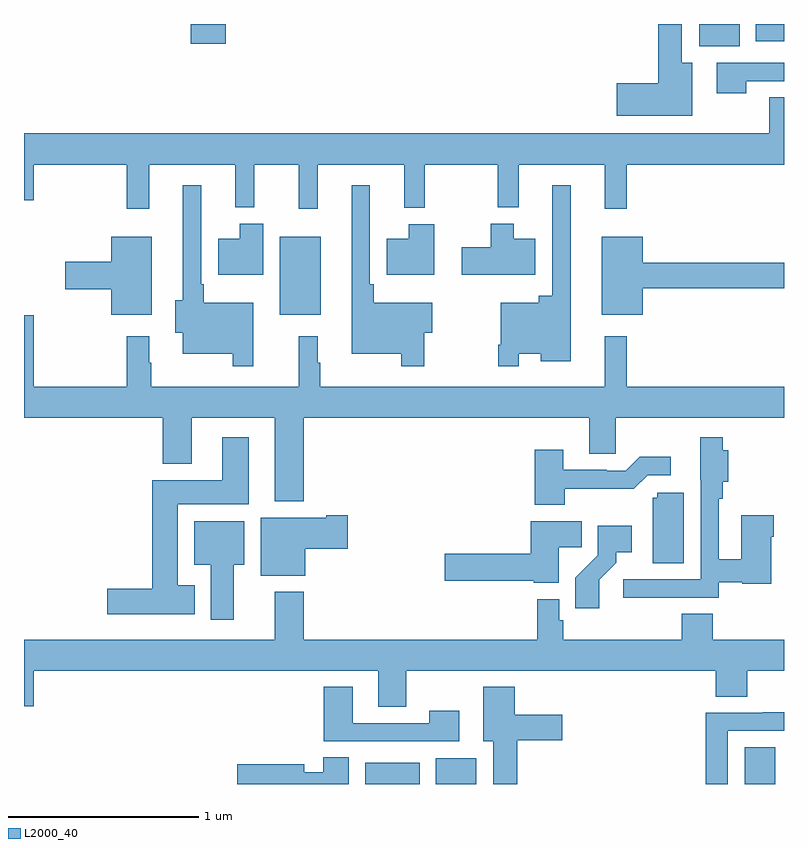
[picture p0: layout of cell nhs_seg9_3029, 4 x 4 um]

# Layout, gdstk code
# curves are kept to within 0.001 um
import gdstk
lib = gdstk.Library(unit=1e-6, precision=1e-09)
def R(c, l, rs):  # rectangles x0, y0, x1, y1
    for r in rs: c.add(gdstk.rectangle(r[:2], r[2:], *l))
def P(c, l, *ps):  # polygons
    for p in ps: c.add(gdstk.Polygon(p, *l))
L2000_40 = (2000, 40)

nhs_seg9_3029 = lib.new_cell('nhs_seg9_3029')
R(nhs_seg9_3029, L2000_40, [(286.796,1186.5,287.083,1186.612), (287.168,1186.5,287.38,1186.636), (288.794,1186.5,288.955,1186.693), (286.346,1188.971,286.561,1189.381), (288.554,1190.384,288.766,1190.5), (285.878,1190.397,286.061,1190.5), (288.851,1190.408,289,1190.5)])
P(nhs_seg9_3029, L2000_40, [(288.517,1190.296),(288.463,1190.296),(288.463,1190.5),(288.338,1190.5),(288.338,1190.189),(288.12,1190.189),(288.12,1190.018),(288.517,1190.018)],
  [(288.801,1190.199),(289,1190.199),(289,1190.295),(288.645,1190.295),(288.645,1190.136),(288.801,1190.136)],
  [(285.659,1189.76),(286.112,1189.76),(286.112,1189.535),(286.212,1189.535),(286.212,1189.76),(286.447,1189.76),(286.447,1189.527),(286.547,1189.527),(286.547,1189.76),(287,1189.76),(287,1189.532),(287.11,1189.532),(287.11,1189.76),(287.493,1189.76),(287.493,1189.535),(287.603,1189.535),(287.603,1189.76),(288.056,1189.76),(288.056,1189.527),(288.173,1189.527),(288.173,1189.76),(289,1189.76),(289,1190.114),(288.922,1190.114),(288.922,1189.924),(285,1189.924),(285,1189.572),(285.052,1189.572),(285.052,1189.76),(285.541,1189.76),(285.541,1189.527),(285.659,1189.527)],
  [(287.107,1188.875),(287.149,1188.875),(287.149,1189.033),(286.841,1189.033),(286.841,1189.129),(286.821,1189.129),(286.821,1189.651),(286.724,1189.651),(286.724,1188.764),(286.986,1188.764),(286.986,1188.699),(287.107,1188.699)],
  [(286.206,1189.033),(285.946,1189.033),(285.946,1189.129),(285.933,1189.129),(285.933,1189.651),(285.836,1189.651),(285.836,1189.046),(285.797,1189.046),(285.797,1188.875),(285.836,1188.875),(285.836,1188.764),(286.098,1188.764),(286.098,1188.699),(286.206,1188.699)],
  [(287.604,1188.764),(287.72,1188.764),(287.72,1188.725),(287.878,1188.725),(287.878,1189.651),(287.781,1189.651),(287.781,1189.069),(287.708,1189.069),(287.708,1189.033),(287.508,1189.033),(287.508,1188.811),(287.496,1188.811),(287.496,1188.699),(287.604,1188.699)],
  [(287.692,1189.369),(287.578,1189.369),(287.578,1189.45),(287.456,1189.45),(287.456,1189.326),(287.304,1189.326),(287.304,1189.181),(287.692,1189.181)],
  [(286.258,1189.45),(286.136,1189.45),(286.136,1189.369),(286.022,1189.369),(286.022,1189.181),(286.258,1189.181)],
  [(287.158,1189.447),(287.024,1189.447),(287.024,1189.369),(286.91,1189.369),(286.91,1189.181),(287.158,1189.181)],
  [(288.256,1189.108),(289,1189.108),(289,1189.244),(288.256,1189.244),(288.256,1189.381),(288.041,1189.381),(288.041,1188.971),(288.256,1188.971)],
  [(285.673,1189.381),(285.458,1189.381),(285.458,1189.25),(285.216,1189.25),(285.216,1189.103),(285.458,1189.103),(285.458,1188.971),(285.673,1188.971)],
  [(286.472,1188.428),(287.975,1188.428),(287.975,1188.238),(288.114,1188.238),(288.114,1188.428),(289,1188.428),(289,1188.592),(288.173,1188.592),(288.173,1188.856),(288.056,1188.856),(288.056,1188.592),(286.558,1188.592),(286.558,1188.716),(286.546,1188.716),(286.546,1188.856),(286.447,1188.856),(286.447,1188.592),(285.67,1188.592),(285.67,1188.716),(285.658,1188.716),(285.658,1188.856),(285.541,1188.856),(285.541,1188.592),(285.052,1188.592),(285.052,1188.967),(285,1188.967),(285,1188.428),(285.731,1188.428),(285.731,1188.185),(285.883,1188.185),(285.883,1188.428),(286.319,1188.428),(286.319,1187.987),(286.472,1187.987)],
  [(288.377,1187.481),(288.657,1187.481),(288.657,1187.562),(288.78,1187.562),(288.78,1187.554),(288.934,1187.554),(288.934,1187.801),(288.947,1187.801),(288.947,1187.914),(288.776,1187.914),(288.776,1187.683),(288.657,1187.683),(288.657,1188.002),(288.677,1188.002),(288.677,1188.091),(288.707,1188.091),(288.707,1188.256),(288.677,1188.256),(288.677,1188.325),(288.56,1188.325),(288.56,1188.102),(288.561,1188.102),(288.561,1187.577),(288.153,1187.577),(288.153,1187.479),(288.377,1187.479)],
  [(285.898,1187.545),(285.808,1187.545),(285.808,1187.972),(286.183,1187.972),(286.183,1188.325),(286.043,1188.325),(286.043,1188.1),(285.674,1188.1),(285.674,1187.528),(285.438,1187.528),(285.438,1187.393),(285.898,1187.393)],
  [(287.847,1188.054),(288.209,1188.053),(288.282,1188.126),(288.403,1188.126),(288.403,1188.223),(288.241,1188.223),(288.168,1188.15),(288.068,1188.15),(288.068,1188.153),(287.839,1188.153),(287.839,1188.259),(287.687,1188.259),(287.687,1187.969),(287.847,1187.969)],
  [(288.472,1188.033),(288.333,1188.033),(288.333,1188.006),(288.308,1188.006),(288.308,1187.662),(288.472,1187.662)],
  [(286.48,1187.737),(286.705,1187.737),(286.705,1187.915),(286.592,1187.915),(286.592,1187.902),(286.247,1187.902),(286.247,1187.597),(286.48,1187.597)],
  [(287.815,1187.746),(287.936,1187.746),(287.936,1187.884),(287.666,1187.884),(287.666,1187.711),(287.214,1187.711),(287.214,1187.569),(287.682,1187.569),(287.682,1187.558),(287.815,1187.558)],
  [(286.105,1187.654),(286.159,1187.654),(286.159,1187.884),(285.896,1187.884),(285.896,1187.654),(285.983,1187.654),(285.983,1187.364),(286.105,1187.364)],
  [(288.028,1187.575),(288.118,1187.665),(288.118,1187.72),(288.199,1187.72),(288.199,1187.86),(288.021,1187.86),(288.021,1187.705),(287.902,1187.586),(287.902,1187.424),(288.028,1187.424)],
  [(287.013,1187.096),(288.641,1187.096),(288.641,1186.96),(288.806,1186.96),(288.806,1187.096),(289,1187.096),(289,1187.26),(288.626,1187.26),(288.626,1187.396),(288.461,1187.396),(288.461,1187.26),(287.837,1187.26),(287.837,1187.361),(287.817,1187.361),(287.817,1187.473),(287.701,1187.473),(287.701,1187.26),(286.472,1187.26),(286.472,1187.512),(286.319,1187.512),(286.319,1187.26),(285,1187.26),(285,1186.908),(285.052,1186.908),(285.052,1187.096),(286.865,1187.096),(286.865,1186.906),(287.013,1186.906)],
  [(287.597,1186.73),(287.833,1186.73),(287.833,1186.864),(287.584,1186.864),(287.584,1187.011),(287.417,1187.011),(287.417,1186.724),(287.471,1186.724),(287.471,1186.5),(287.597,1186.5)],
  [(287.29,1186.885),(287.134,1186.885),(287.134,1186.821),(286.729,1186.821),(286.729,1187.011),(286.577,1187.011),(286.577,1186.725),(287.29,1186.725)],
  [(288.705,1186.779),(289,1186.779),(289,1186.878),(288.889,1186.878),(288.889,1186.875),(288.589,1186.875),(288.589,1186.5),(288.705,1186.5)],
  [(286.708,1186.64),(286.574,1186.64),(286.574,1186.561),(286.474,1186.561),(286.474,1186.604),(286.122,1186.604),(286.122,1186.5),(286.708,1186.5)])

lib.write_gds('nhs_seg9_3029.gds')
